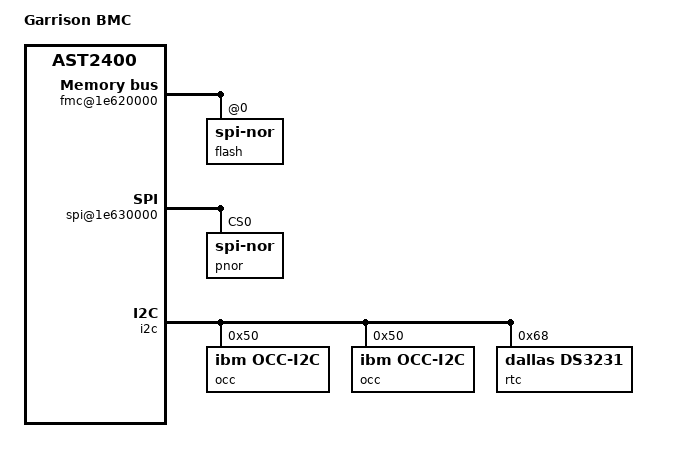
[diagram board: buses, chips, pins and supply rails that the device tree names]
/dts-v1/;

#include "ast2400.dtsi"
#include <dt-bindings/gpio/gpio.h>

/ {
	model = "Garrison BMC";
	compatible = "ibm,garrison-bmc", "aspeed,ast2400";

	ahb {
		fmc@1e620000 {
			reg = < 0x1e620000 0x94
				0x20000000 0x02000000 >;
			#address-cells = <1>;
			#size-cells = <0>;
			compatible = "aspeed,fmc";
			flash@0 {
				reg = < 0 >;
				compatible = "jedec,spi-nor" ;
				/*
				 * Possibly required props:
				 * spi-max-frequency = <>
				 * spi-tx-bus-width = <>
				 * spi-rx-bus-width  = <>
				 * m25p,fast-read
				 * spi-cpol if inverse clock polarity (CPOL)
				 * spi-cpha if shifted clock phase (CPHA)
				 */
#include "aspeed-bmc-opp-flash-layout.dtsi"
			};
		};
		spi@1e630000 {
			reg = < 0x1e630000 0x18
				0x30000000 0x02000000 >;
			#address-cells = <1>;
			#size-cells = <0>;
			compatible = "aspeed,smc";
			flash {
				reg = < 0 >;
				compatible = "jedec,spi-nor" ;
				label = "pnor";
				/* spi-max-frequency = <>; */
				/* m25p,fast-read; */
			};
		};
		apb {
			i2c: i2c@1e78a040 {
				i2c4: i2c-bus@140 {
					occ@50 {
						compatible = "ibm,occ-i2c";
						reg = <0x50>;
					};
				};
				i2c5: i2c-bus@180 {
					occ@50 {
						compatible = "ibm,occ-i2c";
						reg = <0x50>;
					};
				};
				i2c10: i2c-bus@3c0 {
					status = "okay";
				};
				i2c11: i2c-bus@400 {
					status = "okay";

					rtc@68 {
						compatible = "dallas,ds3231";
						reg = <0x68>;
					};
				};
				i2c12: i2c-bus@440 {
					status = "okay";
				};
				i2c13: i2c-bus@480 {
					status = "okay";
				};
			};
		};
	};
};
